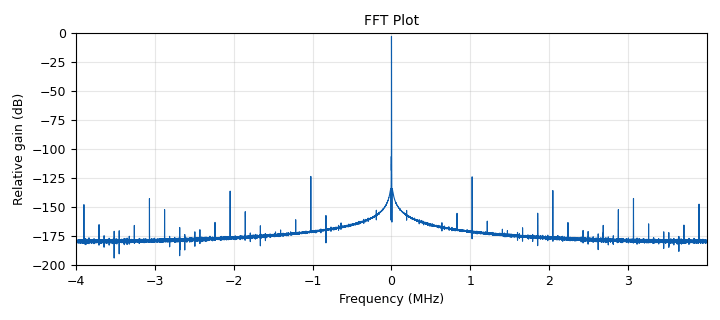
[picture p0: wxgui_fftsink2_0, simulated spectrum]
<?xml version='1.0' encoding='utf-8'?>
<?grc format='1' created='3.7.10'?>
<flow_graph>
<block>
<key>options</key>
<param><key>id</key><value>limeTX2</value></param>
<param><key>category</key><value>Custom</value></param>
<param><key>generate_options</key><value>wx_gui</value></param>
</block>
<block>
<key>variable_slider</key>
<param><key>id</key><value>bbgain</value></param>
<param><key>converver</key><value>float_converter</value></param>
<param><key>value</key><value>0</value></param>
<param><key>label</key><value>bbgain</value></param>
<param><key>max</key><value>20</value></param>
<param><key>min</key><value>0</value></param>
<param><key>num_steps</key><value>20</value></param>
<param><key>style</key><value>wx.SL_HORIZONTAL</value></param>
</block>
<block>
<key>variable_slider</key>
<param><key>id</key><value>frequency</value></param>
<param><key>converver</key><value>float_converter</value></param>
<param><key>value</key><value>144300000</value></param>
<param><key>label</key><value>frequency</value></param>
<param><key>max</key><value>5000000000</value></param>
<param><key>min</key><value>1000000</value></param>
<param><key>num_steps</key><value>1000</value></param>
<param><key>style</key><value>wx.SL_HORIZONTAL</value></param>
</block>
<block>
<key>variable_slider</key>
<param><key>id</key><value>ifgain</value></param>
<param><key>converver</key><value>float_converter</value></param>
<param><key>value</key><value>0</value></param>
<param><key>label</key><value>ifgain</value></param>
<param><key>max</key><value>20</value></param>
<param><key>min</key><value>0</value></param>
<param><key>num_steps</key><value>20</value></param>
<param><key>style</key><value>wx.SL_HORIZONTAL</value></param>
</block>
<block>
<key>variable</key>
<param><key>id</key><value>output_rate</value></param>
<param><key>value</key><value>8000000</value></param>
</block>
<block>
<key>variable_slider</key>
<param><key>id</key><value>rfgain</value></param>
<param><key>converver</key><value>float_converter</value></param>
<param><key>value</key><value>1</value></param>
<param><key>label</key><value>rfgain</value></param>
<param><key>max</key><value>20</value></param>
<param><key>min</key><value>0</value></param>
<param><key>num_steps</key><value>20</value></param>
<param><key>style</key><value>wx.SL_HORIZONTAL</value></param>
</block>
<block>
<key>analog_sig_source_x</key>
<param><key>id</key><value>analog_sig_source_x_0</value></param>
<param><key>amp</key><value>1</value></param>
<param><key>freq</key><value>1000</value></param>
<param><key>offset</key><value>0</value></param>
<param><key>type</key><value>complex</value></param>
<param><key>samp_rate</key><value>output_rate</value></param>
<param><key>waveform</key><value>analog.GR_SIN_WAVE</value></param>
</block>
<block>
<key>low_pass_filter</key>
<param><key>id</key><value>low_pass_filter_0</value></param>
<param><key>cutoff_freq</key><value>output_rate/2</value></param>
<param><key>type</key><value>interp_fir_filter_ccf</value></param>
<param><key>gain</key><value>1</value></param>
<param><key>interp</key><value>1</value></param>
<param><key>samp_rate</key><value>output_rate</value></param>
<param><key>width</key><value>output_rate/32</value></param>
<param><key>win</key><value>firdes.WIN_HAMMING</value></param>
</block>
<block>
<key>osmosdr_sink</key>
<param><key>id</key><value>osmosdr_sink_0</value></param>
<param><key>ant0</key><value>BAND1</value></param>
<param><key>bb_gain0</key><value>bbgain</value></param>
<param><key>freq0</key><value>frequency</value></param>
<param><key>if_gain0</key><value>ifgain</value></param>
<param><key>gain0</key><value>rfgain</value></param>
<param><key>args</key><value></value></param>
<param><key>type</key><value>fc32</value></param>
<param><key>sample_rate</key><value>output_rate</value></param>
<param><key>sync</key><value></value></param>
</block>
<block>
<key>wxgui_fftsink2</key>
<param><key>id</key><value>wxgui_fftsink2_0</value></param>
<param><key>avg_alpha</key><value>0</value></param>
<param><key>average</key><value>False</value></param>
<param><key>baseband_freq</key><value>0</value></param>
<param><key>fft_size</key><value>32768</value></param>
<param><key>freqvar</key><value>None</value></param>
<param><key>peak_hold</key><value>False</value></param>
<param><key>ref_level</key><value>0</value></param>
<param><key>ref_scale</key><value>2.0</value></param>
<param><key>fft_rate</key><value>15</value></param>
<param><key>samp_rate</key><value>output_rate</value></param>
<param><key>title</key><value>FFT Plot</value></param>
<param><key>type</key><value>complex</value></param>
<param><key>win</key><value>None</value></param>
<param><key>y_divs</key><value>10</value></param>
<param><key>y_per_div</key><value>20</value></param>
</block>
<block>
<key>wxgui_scopesink2</key>
<param><key>id</key><value>wxgui_scopesink2_0</value></param>
<param><key>ac_couple</key><value>False</value></param>
<param><key>_enabled</key><value>0</value></param>
<param><key>num_inputs</key><value>1</value></param>
<param><key>samp_rate</key><value>output_rate</value></param>
<param><key>t_scale</key><value>0</value></param>
<param><key>title</key><value>Scope Plot</value></param>
<param><key>trig_mode</key><value>wxgui.TRIG_MODE_AUTO</value></param>
<param><key>type</key><value>complex</value></param>
<param><key>v_offset</key><value>0</value></param>
<param><key>v_scale</key><value>0</value></param>
<param><key>xy_mode</key><value>False</value></param>
<param><key>y_axis_label</key><value>Counts</value></param>
</block>
<block>
<key>wxgui_waterfallsink2</key>
<param><key>id</key><value>wxgui_waterfallsink2_0</value></param>
<param><key>avg_alpha</key><value>0</value></param>
<param><key>average</key><value>False</value></param>
<param><key>baseband_freq</key><value>0</value></param>
<param><key>dynamic_range</key><value>140</value></param>
<param><key>_enabled</key><value>0</value></param>
<param><key>fft_rate</key><value>15</value></param>
<param><key>fft_size</key><value>1024</value></param>
<param><key>freqvar</key><value>None</value></param>
<param><key>ref_scale</key><value>2.0</value></param>
<param><key>ref_level</key><value>-80</value></param>
<param><key>samp_rate</key><value>output_rate</value></param>
<param><key>title</key><value>Waterfall Plot</value></param>
<param><key>type</key><value>complex</value></param>
<param><key>win</key><value>None</value></param>
</block>
<connection><source_block_id>analog_sig_source_x_0</source_block_id><sink_block_id>low_pass_filter_0</sink_block_id><source_key>0</source_key><sink_key>0</sink_key></connection>
<connection><source_block_id>low_pass_filter_0</source_block_id><sink_block_id>osmosdr_sink_0</sink_block_id><source_key>0</source_key><sink_key>0</sink_key></connection>
<connection><source_block_id>low_pass_filter_0</source_block_id><sink_block_id>wxgui_fftsink2_0</sink_block_id><source_key>0</source_key><sink_key>0</sink_key></connection>
<connection><source_block_id>low_pass_filter_0</source_block_id><sink_block_id>wxgui_scopesink2_0</sink_block_id><source_key>0</source_key><sink_key>0</sink_key></connection>
<connection><source_block_id>low_pass_filter_0</source_block_id><sink_block_id>wxgui_waterfallsink2_0</sink_block_id><source_key>0</source_key><sink_key>0</sink_key></connection>
</flow_graph>
